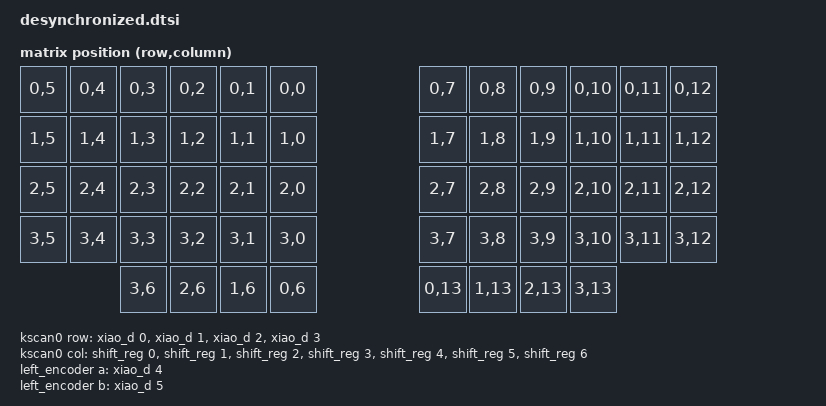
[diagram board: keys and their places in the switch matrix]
#include <dt-bindings/zmk/matrix_transform.h>

&xiao_spi {
    status = "okay";
    cs-gpios = <&xiao_d 6 GPIO_ACTIVE_LOW>, <&xiao_d 7 GPIO_ACTIVE_LOW>;

    shift_reg: 595@0 {
        compatible = "zmk,gpio-595";
        status = "okay";
        gpio-controller;
        spi-max-frequency = <200000>;
        reg = <0>;
        label = "4HC595";
        #gpio-cells = <2>;
        ngpios = <8>;
    };

    trackball: trackball@0 {
        compatible = "pixart,pmw3360";
        reg = <1>;
        label = "Pixart PMW3360";
        spi-max-frequency = <2000000>;
        irq-gpios = <&xiao_d 5 (GPIO_ACTIVE_LOW | GPIO_PULL_UP)>;
        scroll-layer = <0>;
    };

};

// &xiao_serial { status = "disabled"; };
&xiao_i2c { status = "disabled"; };

/ {
    chosen {
        zmk,kscan = &kscan0;
        zmk,matrix_transform = &default_transform;
        /delete-property/ zephyr,console;
        /delete-property/ zephyr,shell-uart;
    };

    default_transform: keymap_transform_0 {
        compatible = "zmk,matrix-transform";
        columns = <12>;
        rows = <4>;
        map = <
RC(0,5) RC(0,4) RC(0,3) RC(0,2) RC(0,1) RC(0,0)                 RC(0,7) RC(0,8) RC(0,9) RC(0,10) RC(0,11) RC(0,12)
RC(1,5) RC(1,4) RC(1,3) RC(1,2) RC(1,1) RC(1,0)                 RC(1,7) RC(1,8) RC(1,9) RC(1,10) RC(1,11) RC(1,12)
RC(2,5) RC(2,4) RC(2,3) RC(2,2) RC(2,1) RC(2,0)                 RC(2,7) RC(2,8) RC(2,9) RC(2,10) RC(2,11) RC(2,12)
RC(3,5) RC(3,4) RC(3,3) RC(3,2) RC(3,1) RC(3,0)                 RC(3,7) RC(3,8) RC(3,9) RC(3,10) RC(3,11) RC(3,12)
                RC(3,6) RC(2,6) RC(1,6) RC(0,6)                 RC(0,13) RC(1,13) RC(2,13) RC(3,13)
        >;
    };

    kscan0: kscan {
        compatible = "zmk,kscan-gpio-matrix";
        label = "KSCAN";

        diode-direction = "col2row";

        col-gpios
            = <&shift_reg 0 (GPIO_ACTIVE_HIGH)>
            , <&shift_reg 1 (GPIO_ACTIVE_HIGH)>
            , <&shift_reg 2 (GPIO_ACTIVE_HIGH)>
            , <&shift_reg 3 (GPIO_ACTIVE_HIGH)>
            , <&shift_reg 4 (GPIO_ACTIVE_HIGH)>
            , <&shift_reg 5 (GPIO_ACTIVE_HIGH)>
            , <&shift_reg 6 (GPIO_ACTIVE_HIGH)>
            ;

        row-gpios
            = <&xiao_d 0 (GPIO_ACTIVE_HIGH | GPIO_PULL_DOWN)>
            , <&xiao_d 1 (GPIO_ACTIVE_HIGH | GPIO_PULL_DOWN)>
            , <&xiao_d 2 (GPIO_ACTIVE_HIGH | GPIO_PULL_DOWN)>
            , <&xiao_d 3 (GPIO_ACTIVE_HIGH | GPIO_PULL_DOWN)>
            ;
    };

    left_encoder: encoder_left {
        compatible = "alps,ec11";
        label = "LEFT_ENCODER";
        a-gpios = <&xiao_d 4 (GPIO_ACTIVE_HIGH | GPIO_PULL_UP)>;
        b-gpios = <&xiao_d 5 (GPIO_ACTIVE_HIGH | GPIO_PULL_UP)>;
        resolution = <4>;
    };

    sensors {
        compatible = "zmk,keymap-sensors";
        sensors = <&left_encoder>;
    };

    /* Configure trackballs (either split can have the trackball) */
    trackballs {
        compatible = "zmk,keymap-trackballs";
        trackballs = <&trackball>;
    };

};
